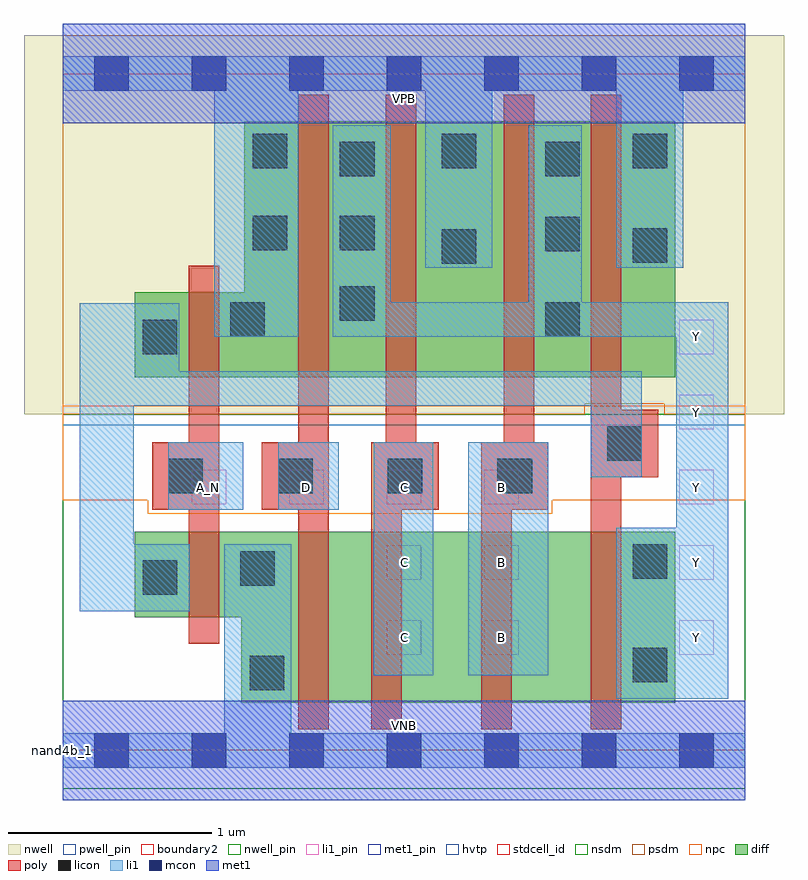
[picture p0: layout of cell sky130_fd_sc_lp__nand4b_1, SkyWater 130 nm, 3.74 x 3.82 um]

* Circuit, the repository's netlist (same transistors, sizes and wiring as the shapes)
* Copyright 2020 The SkyWater PDK Authors
*
* Licensed under the Apache License, Version 2.0 (the "License");
* you may not use this file except in compliance with the License.
* You may obtain a copy of the License at
*
*     https://www.apache.org/licenses/LICENSE-2.0
*
* Unless required by applicable law or agreed to in writing, software
* distributed under the License is distributed on an "AS IS" BASIS,
* WITHOUT WARRANTIES OR CONDITIONS OF ANY KIND, either express or implied.
* See the License for the specific language governing permissions and
* limitations under the License.
*
* SPDX-License-Identifier: Apache-2.0

.SUBCKT sky130_fd_sc_lp__nand4b_1 A_N B C D VGND VNB VPB VPWR Y
*.PININFO A_N:I B:I C:I D:I VGND:I VNB:I VPB:I VPWR:I Y:O
MMP0 Y A VPWR VPB sky130_fd_pr__pfet_01v8_hvt m=1 w=1.26U l=0.15U mult=1 sa=0.265
+ sb=0.265 sd=0.28 area=0.063 perim=1.14
MMP1 Y B VPWR VPB sky130_fd_pr__pfet_01v8_hvt m=1 w=1.26U l=0.15U mult=1 sa=0.265
+ sb=0.265 sd=0.28 area=0.063 perim=1.14
MMP2 Y C VPWR VPB sky130_fd_pr__pfet_01v8_hvt m=1 w=1.26U l=0.15U mult=1 sa=0.265
+ sb=0.265 sd=0.28 area=0.063 perim=1.14
MMP3 Y D VPWR VPB sky130_fd_pr__pfet_01v8_hvt m=1 w=1.26U l=0.15U mult=1 sa=0.265
+ sb=0.265 sd=0.28 area=0.063 perim=1.14
MMIP0 A A_N VPWR VPB sky130_fd_pr__pfet_01v8_hvt m=1 w=0.42U l=0.15U mult=1 sa=0.265
+ sb=0.265 sd=0.28 area=0.063 perim=1.14
MMN0 Y A sndA VNB sky130_fd_pr__nfet_01v8 m=1 w=0.84U l=0.15U mult=1 sa=0.265 sb=0.265
+ sd=0.28 area=0.063 perim=1.14
MMN1 sndA B sndB VNB sky130_fd_pr__nfet_01v8 m=1 w=0.84U l=0.15U mult=1 sa=0.265
+ sb=0.265 sd=0.28 area=0.063 perim=1.14
MMN2 sndB C sndC VNB sky130_fd_pr__nfet_01v8 m=1 w=0.84U l=0.15U mult=1 sa=0.265
+ sb=0.265 sd=0.28 area=0.063 perim=1.14
MMN3 sndC D VGND VNB sky130_fd_pr__nfet_01v8 m=1 w=0.84U l=0.15U mult=1 sa=0.265
+ sb=0.265 sd=0.28 area=0.063 perim=1.14
MMIN0 A A_N VGND VNB sky130_fd_pr__nfet_01v8 m=1 w=0.42U l=0.15U mult=1 sa=0.265
+ sb=0.265 sd=0.28 area=0.063 perim=1.14
.ENDS sky130_fd_sc_lp__nand4b_1

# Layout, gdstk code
import gdstk
lib = gdstk.Library(unit=1e-6, precision=1e-09)
def R(c, l, rs):  # rectangles x0, y0, x1, y1
    for r in rs: c.add(gdstk.rectangle(r[:2], r[2:], *l))
def A(c, l, x, y, w, h, nx, ny, dx, dy):  # array of equal rectangles
    R(c, l, [(x+i*dx, y+j*dy, x+i*dx+w, y+j*dy+h) for i in range(nx) for j in range(ny)])
def P(c, l, *ps):  # polygons
    for p in ps: c.add(gdstk.Polygon(p, *l))
nwell_pin = (64, 16)
nwell = (64, 20)
diff = (65, 20)
poly = (66, 20)
licon = (66, 44)
li1_pin = (67, 16)
li1 = (67, 20)
mcon = (67, 44)
met1_pin = (68, 16)
met1 = (68, 20)
hvtp = (78, 44)
stdcell_id = (81, 4)
nsdm = (93, 44)
psdm = (94, 20)
npc = (95, 20)
pwell_pin = (122, 16)
boundary2 = (236, 0)

sky130_fd_sc_lp__nand4b_ = lib.new_cell('sky130_fd_sc_lp__nand4b_1')
R(sky130_fd_sc_lp__nand4b_, nwell_pin, [(0,3.085,3.36,3.33)])
R(sky130_fd_sc_lp__nand4b_, nwell, [(-0.19,1.655,3.55,3.52)])
P(sky130_fd_sc_lp__nand4b_, diff, [(3.015,3.095),(0.895,3.095),(0.895,2.255),(0.355,2.255),(0.355,1.835),(3.015,1.835)],
  [(3.015,1.075),(0.355,1.075),(0.355,0.655),(0.88,0.655),(0.88,0.235),(3.015,0.235)])
P(sky130_fd_sc_lp__nand4b_, poly, [(0.77,2.385),(0.62,2.385),(0.62,1.515),(0.44,1.515),(0.44,1.185),(0.62,1.185),(0.62,0.525),(0.77,0.525)],
  [(1.31,3.225),(1.16,3.225),(1.16,1.515),(0.98,1.515),(0.98,1.185),(1.16,1.185),(1.16,0.105),(1.31,0.105)],
  [(1.85,1.515),(1.74,1.515),(1.74,3.225),(1.59,3.225),(1.59,1.515),(1.52,1.515),(1.52,0.105),(1.67,0.105),(1.67,1.185),(1.85,1.185)],
  [(2.39,1.515),(2.32,1.515),(2.32,3.225),(2.17,3.225),(2.17,1.515),(2.06,1.515),(2.06,0.105),(2.21,0.105),(2.21,1.185),(2.39,1.185)],
  [(2.93,1.675),(2.75,1.675),(2.75,3.225),(2.6,3.225),(2.6,0.105),(2.75,0.105),(2.75,1.345),(2.93,1.345)])
A(sky130_fd_sc_lp__nand4b_, licon, 0.52, 1.265, 0.17, 0.17, 4, 1, 0.54, 0)
R(sky130_fd_sc_lp__nand4b_, licon, [(0.92,0.295,1.09,0.465), (2.805,0.335,2.975,0.505), (0.395,0.765,0.565,0.935), (0.875,0.81,1.045,0.98), (2.805,0.845,2.975,1.015), (2.68,1.425,2.85,1.595), (0.395,1.95,0.565,2.12), (0.825,2.035,0.995,2.205), (2.375,2.035,2.545,2.205), (1.365,2.115,1.535,2.285), (1.865,2.395,2.035,2.565), (2.805,2.4,2.975,2.57), (2.375,2.455,2.545,2.625), (0.935,2.46,1.105,2.63), (1.365,2.46,1.535,2.63), (1.365,2.825,1.535,2.995), (2.375,2.825,2.545,2.995), (0.935,2.865,1.105,3.035), (1.865,2.865,2.035,3.035), (2.805,2.865,2.975,3.035)])
A(sky130_fd_sc_lp__nand4b_, li1_pin, 3.035, 0.47, 0.17, 0.17, 1, 5, 0, 0.37)
A(sky130_fd_sc_lp__nand4b_, li1_pin, 0.635, 1.21, 0.17, 0.17, 4, 1, 0.48, 0)
R(sky130_fd_sc_lp__nand4b_, li1_pin, [(1.595,0.47,1.765,0.64), (2.075,0.47,2.245,0.64), (1.595,0.84,1.765,1.01), (2.075,0.84,2.245,1.01)])
R(sky130_fd_sc_lp__nand4b_, li1, [(1.53,0.37,1.825,1.515), (1.995,0.37,2.39,1.515), (0.52,1.185,0.89,1.515), (1.06,1.185,1.36,1.515)])
P(sky130_fd_sc_lp__nand4b_, li1, [(1.785,2.375),(1.785,3.245),(1.16,3.245),(1.16,2.035),(0.745,2.035),(0.745,3.245),(0,3.245),(0,3.415),(3.36,3.415),(3.36,3.245),(3.055,3.245),(3.055,2.375),(2.725,2.375),(2.725,3.245),(2.115,3.245),(2.115,2.375)],
  [(0.795,0.085),(0.795,1.015),(1.125,1.015),(1.125,0.085),(3.36,0.085),(3.36,-0.085),(0,-0.085),(0,0.085)],
  [(1.615,2.205),(2.295,2.205),(2.295,3.075),(2.555,3.075),(2.555,2.205),(3.275,2.205),(3.275,0.255),(2.725,0.255),(2.725,1.095),(3.02,1.095),(3.02,2.035),(1.33,2.035),(1.33,3.075),(1.615,3.075)],
  [(0.575,1.865),(2.85,1.865),(2.85,1.345),(2.6,1.345),(2.6,1.695),(0.35,1.695),(0.35,1.015),(0.625,1.015),(0.625,0.685),(0.085,0.685),(0.085,2.2),(0.575,2.2)])
A(sky130_fd_sc_lp__nand4b_, mcon, 0.155, -0.085, 0.17, 0.17, 7, 2, 0.48, 3.33)
R(sky130_fd_sc_lp__nand4b_, met1_pin, [(0,0,3.36,0.245), (0,3.085,3.36,3.33)])
R(sky130_fd_sc_lp__nand4b_, met1, [(0,-0.245,3.36,0.245), (0,3.085,3.36,3.575)])
R(sky130_fd_sc_lp__nand4b_, hvtp, [(0,1.6,3.36,3.33)])
R(sky130_fd_sc_lp__nand4b_, stdcell_id, [(0,0,3.36,3.33)])
R(sky130_fd_sc_lp__nand4b_, nsdm, [(0,-0.19,3.36,1.655)])
P(sky130_fd_sc_lp__nand4b_, psdm, [(3.36,3.52),(0,3.52),(0,1.655),(2.57,1.655),(2.57,1.705),(2.96,1.705),(2.96,1.655),(3.36,1.655)])
P(sky130_fd_sc_lp__nand4b_, npc, [(3.36,1.695),(0,1.695),(0,1.23),(0.42,1.23),(0.42,1.165),(2.41,1.165),(2.41,1.23),(3.36,1.23)])
R(sky130_fd_sc_lp__nand4b_, pwell_pin, [(0,0,3.36,0.245)])
R(sky130_fd_sc_lp__nand4b_, boundary2, [(0,0,3.36,3.33)])
sky130_fd_sc_lp__nand4b_.add(gdstk.Label('VNB', (1.68,0.123), layer=64, texttype=59))
sky130_fd_sc_lp__nand4b_.add(gdstk.Label('VPB', (1.68,3.208), layer=64, texttype=5))
sky130_fd_sc_lp__nand4b_.add(gdstk.Label('nand4b_1', (0,0), layer=83, texttype=44))
sky130_fd_sc_lp__nand4b_.add(gdstk.Label('VPWR', (1.68,3.208), layer=68, texttype=5))
sky130_fd_sc_lp__nand4b_.add(gdstk.Label('VGND', (1.68,0.123), layer=68, texttype=5))
sky130_fd_sc_lp__nand4b_.add(gdstk.Label('B', (2.16,0.555), layer=67, texttype=5))
sky130_fd_sc_lp__nand4b_.add(gdstk.Label('B', (2.16,0.925), layer=67, texttype=5))
sky130_fd_sc_lp__nand4b_.add(gdstk.Label('B', (2.16,1.295), layer=67, texttype=5))
sky130_fd_sc_lp__nand4b_.add(gdstk.Label('C', (1.68,0.555), layer=67, texttype=5))
sky130_fd_sc_lp__nand4b_.add(gdstk.Label('C', (1.68,0.925), layer=67, texttype=5))
sky130_fd_sc_lp__nand4b_.add(gdstk.Label('C', (1.68,1.295), layer=67, texttype=5))
sky130_fd_sc_lp__nand4b_.add(gdstk.Label('D', (1.2,1.295), layer=67, texttype=5))
sky130_fd_sc_lp__nand4b_.add(gdstk.Label('A_N', (0.72,1.295), layer=67, texttype=5))
sky130_fd_sc_lp__nand4b_.add(gdstk.Label('Y', (3.12,1.665), layer=67, texttype=5))
sky130_fd_sc_lp__nand4b_.add(gdstk.Label('Y', (3.12,2.035), layer=67, texttype=5))
sky130_fd_sc_lp__nand4b_.add(gdstk.Label('Y', (3.12,0.555), layer=67, texttype=5))
sky130_fd_sc_lp__nand4b_.add(gdstk.Label('Y', (3.12,0.925), layer=67, texttype=5))
sky130_fd_sc_lp__nand4b_.add(gdstk.Label('Y', (3.12,1.295), layer=67, texttype=5))

lib.write_gds('sky130_fd_sc_lp__nand4b_1.gds')
